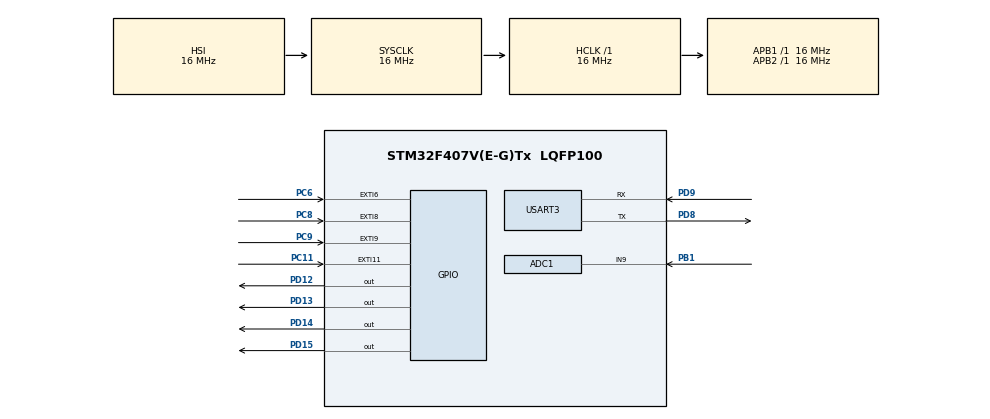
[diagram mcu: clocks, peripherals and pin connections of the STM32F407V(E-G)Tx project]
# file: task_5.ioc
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ADC1.Channel-0\#ChannelRegularConversion=ADC_CHANNEL_9
ADC1.ClockPrescaler=ADC_CLOCK_SYNC_PCLK_DIV8
ADC1.NbrOfConversionFlag=1
ADC1.Rank-0\#ChannelRegularConversion=1
ADC1.SamplingTime-0\#ChannelRegularConversion=ADC_SAMPLETIME_480CYCLES
ADC1.master=1
Mcu.Family=STM32F4
Mcu.Name=STM32F407V(E-G)Tx
Mcu.Package=LQFP100
NVIC.ADC_IRQn=true\:0\:0\:false\:false\:true\:true\:true\:true
NVIC.EXTI15_10_IRQn=true\:0\:0\:false\:false\:true\:true\:true\:true
NVIC.EXTI9_5_IRQn=true\:0\:0\:false\:false\:true\:true\:true\:true
NVIC.PriorityGroup=NVIC_PRIORITYGROUP_4
NVIC.TIM4_IRQn=true\:0\:0\:false\:false\:true\:true\:true\:true
PB1.Signal=ADCx_IN9
PC11.Signal=GPXTI11
PC6.Signal=GPXTI6
PC8.Signal=GPXTI8
PC9.Signal=GPXTI9
PD12.Signal=GPIO_Output
PD13.Signal=GPIO_Output
PD14.Signal=GPIO_Output
PD15.Signal=GPIO_Output
PD8.Mode=Asynchronous
PD8.Signal=USART3_TX
PD9.Mode=Asynchronous
PD9.Signal=USART3_RX
ProjectManager.HeapSize=0x200
ProjectManager.StackSize=0x400
ProjectManager.TargetToolchain=STM32CubeIDE
RCC.AHBFreq_Value=16000000
RCC.APB1Freq_Value=16000000
RCC.APB2Freq_Value=16000000
RCC.CortexFreq_Value=16000000
RCC.HSE_VALUE=25000000
RCC.HSI_VALUE=16000000
RCC.LSE_VALUE=32768
RCC.SYSCLKFreq_VALUE=16000000
RCC.VCOOutputFreq_Value=192000000
SH.ADCx_IN9.0=ADC1_IN9,IN9
TIM4.AutoReloadPreload=TIM_AUTORELOAD_PRELOAD_ENABLE
TIM4.Period=5000
TIM4.Prescaler=16000
USART3.VirtualMode=VM_ASYNC
VP_TIM4_VS_ClockSourceINT.Mode=Internal
board=custom

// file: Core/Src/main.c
/* USER CODE BEGIN Header */
/**
  ******************************************************************************
  * @file           : main.c
  * @brief          : Main program body
  ******************************************************************************
  * @attention
  *
  * Copyright (c) 2023 STMicroelectronics.
  * All rights reserved.
  *
  * This software is licensed under terms that can be found in the LICENSE file
  * in the root directory of this software component.
  * If no LICENSE file comes with this software, it is provided AS-IS.
  *
  ******************************************************************************
  */
/* USER CODE END Header */
#include "main.h"

/* USER CODE BEGIN Includes */
#include "UsrSrc/controls.h"

#include <stdio.h>
/* USER CODE END Includes */

ADC_HandleTypeDef hadc1;

TIM_HandleTypeDef htim4;

UART_HandleTypeDef huart3;

void SystemClock_Config(void);
static void MX_GPIO_Init(void);
static void MX_ADC1_Init(void);
static void MX_TIM4_Init(void);
static void MX_USART3_UART_Init(void);

/* USER CODE BEGIN 0 */
uint32_t adcValue = 0;
volatile HAL_StatusTypeDef adcPollResult;

void HAL_TIM_PeriodElapsedCallback(TIM_HandleTypeDef *htim) {

	if (htim->Instance == TIM4) {
		char buff[12];
		buff[0] = '[';
		buff[1] = 'O';
		buff[2] = 'U';
		buff[3] = 'T';
		buff[4] = ']';
		buff[5] = ':';
		buff[6] = ' ';
		buff[10] = '\r';
		buff[11] = '\n';

		int x = get_temp_sensor_data(adcValue);

		snprintf(buff + 7, 3, "%d", x);
		HAL_UART_Transmit(&huart3, (uint8_t*)buff, 12, 10);
	}
}

void HAL_ADC_ConvCpltCallback(ADC_HandleTypeDef* hadc) {
	if (hadc->Instance == ADC1) {
		adcValue = HAL_ADC_GetValue(&hadc1);
	}
}

void HAL_GPIO_EXTI_Callback(uint16_t GPIO_Pin) {

	switch (GPIO_Pin) {
	case SWT1:
		switch_led(&huart3, MSG_OUT, LD_LED_BLUE);
		break;
	case SWT3:
		switch_led(&huart3, MSG_OUT, LD_LED_ORANGE);
		break;

	case SWT4:
		switch_led(&huart3, MSG_OUT, LD_LED_RED);
		break;

	case SWT5:
		switch_led(&huart3, MSG_OUT, LD_LED_GREEN);
		break;

	default:
		// Unknown input
		break;
	}
}
/* USER CODE END 0 */

int main(void)
{

  /* MCU Configuration--------------------------------------------------------*/

  /* Reset of all peripherals, Initializes the Flash interface and the Systick. */
  HAL_Init();

  /* Configure the system clock */
  SystemClock_Config();

  /* Initialize all configured peripherals */
  MX_GPIO_Init();
  MX_ADC1_Init();
  MX_TIM4_Init();
  MX_USART3_UART_Init();
  /* USER CODE BEGIN 2 */
  HAL_ADC_Start_IT(&hadc1);
  HAL_TIM_Base_Start_IT(&htim4);
  /* USER CODE END 2 */

  /* Infinite loop */
  /* USER CODE BEGIN WHILE */
  while (1)
  {
	  uint8_t rcvBuf[1];
	  HAL_StatusTypeDef result;

	  result = HAL_UART_Receive(&huart3, rcvBuf, 1, 10);

	  if (result == HAL_OK) {
		  switch (rcvBuf[0]) {
			case 'l':
				switch_led(&huart3, MSG_IN, LD_LED_BLUE);
				break;
			case 'j':
				switch_led(&huart3, MSG_IN, LD_LED_ORANGE);
				break;

			case 'i':
				switch_led(&huart3, MSG_IN, LD_LED_RED);
				break;

			case 'k':
				switch_led(&huart3, MSG_IN, LD_LED_GREEN);
				break;

			default:
				// Unknown input
				break;
		  }
	  }
    /* USER CODE END WHILE */

  }
}

void SystemClock_Config(void)
{
  RCC_OscInitTypeDef RCC_OscInitStruct = {0};
  RCC_ClkInitTypeDef RCC_ClkInitStruct = {0};

  /** Configure the main internal regulator output voltage
  */
  __HAL_RCC_PWR_CLK_ENABLE();
  __HAL_PWR_VOLTAGESCALING_CONFIG(PWR_REGULATOR_VOLTAGE_SCALE1);

  /** Initializes the RCC Oscillators according to the specified parameters
  * in the RCC_OscInitTypeDef structure.
  */
  RCC_OscInitStruct.OscillatorType = RCC_OSCILLATORTYPE_HSI;
  RCC_OscInitStruct.HSIState = RCC_HSI_ON;
  RCC_OscInitStruct.HSICalibrationValue = RCC_HSICALIBRATION_DEFAULT;
  RCC_OscInitStruct.PLL.PLLState = RCC_PLL_NONE;
  if (HAL_RCC_OscConfig(&RCC_OscInitStruct) != HAL_OK)
  {
    Error_Handler();
  }

  /** Initializes the CPU, AHB and APB buses clocks
  */
  RCC_ClkInitStruct.ClockType = RCC_CLOCKTYPE_HCLK|RCC_CLOCKTYPE_SYSCLK
                              |RCC_CLOCKTYPE_PCLK1|RCC_CLOCKTYPE_PCLK2;
  RCC_ClkInitStruct.SYSCLKSource = RCC_SYSCLKSOURCE_HSI;
  RCC_ClkInitStruct.AHBCLKDivider = RCC_SYSCLK_DIV1;
  RCC_ClkInitStruct.APB1CLKDivider = RCC_HCLK_DIV1;
  RCC_ClkInitStruct.APB2CLKDivider = RCC_HCLK_DIV1;

  if (HAL_RCC_ClockConfig(&RCC_ClkInitStruct, FLASH_LATENCY_0) != HAL_OK)
  {
    Error_Handler();
  }
}

static void MX_ADC1_Init(void)
{

  ADC_ChannelConfTypeDef sConfig = {0};

  /** Configure the global features of the ADC (Clock, Resolution, Data Alignment and number of conversion)
  */
  hadc1.Instance = ADC1;
  hadc1.Init.ClockPrescaler = ADC_CLOCK_SYNC_PCLK_DIV8;
  hadc1.Init.Resolution = ADC_RESOLUTION_12B;
  hadc1.Init.ScanConvMode = DISABLE;
  hadc1.Init.ContinuousConvMode = DISABLE;
  hadc1.Init.DiscontinuousConvMode = DISABLE;
  hadc1.Init.ExternalTrigConvEdge = ADC_EXTERNALTRIGCONVEDGE_NONE;
  hadc1.Init.ExternalTrigConv = ADC_SOFTWARE_START;
  hadc1.Init.DataAlign = ADC_DATAALIGN_RIGHT;
  hadc1.Init.NbrOfConversion = 1;
  hadc1.Init.DMAContinuousRequests = DISABLE;
  hadc1.Init.EOCSelection = ADC_EOC_SINGLE_CONV;
  if (HAL_ADC_Init(&hadc1) != HAL_OK)
  {
    Error_Handler();
  }

  /** Configure for the selected ADC regular channel its corresponding rank in the sequencer and its sample time.
  */
  sConfig.Channel = ADC_CHANNEL_9;
  sConfig.Rank = 1;
  sConfig.SamplingTime = ADC_SAMPLETIME_480CYCLES;
  if (HAL_ADC_ConfigChannel(&hadc1, &sConfig) != HAL_OK)
  {
    Error_Handler();
  }

}

static void MX_TIM4_Init(void)
{

  TIM_ClockConfigTypeDef sClockSourceConfig = {0};
  TIM_MasterConfigTypeDef sMasterConfig = {0};

  htim4.Instance = TIM4;
  htim4.Init.Prescaler = 16000;
  htim4.Init.CounterMode = TIM_COUNTERMODE_UP;
  htim4.Init.Period = 5000;
  htim4.Init.ClockDivision = TIM_CLOCKDIVISION_DIV1;
  htim4.Init.AutoReloadPreload = TIM_AUTORELOAD_PRELOAD_ENABLE;
  if (HAL_TIM_Base_Init(&htim4) != HAL_OK)
  {
    Error_Handler();
  }
  sClockSourceConfig.ClockSource = TIM_CLOCKSOURCE_INTERNAL;
  if (HAL_TIM_ConfigClockSource(&htim4, &sClockSourceConfig) != HAL_OK)
  {
    Error_Handler();
  }
  sMasterConfig.MasterOutputTrigger = TIM_TRGO_RESET;
  sMasterConfig.MasterSlaveMode = TIM_MASTERSLAVEMODE_DISABLE;
  if (HAL_TIMEx_MasterConfigSynchronization(&htim4, &sMasterConfig) != HAL_OK)
  {
    Error_Handler();
  }

}

static void MX_USART3_UART_Init(void)
{

  huart3.Instance = USART3;
  huart3.Init.BaudRate = 115200;
  huart3.Init.WordLength = UART_WORDLENGTH_8B;
  huart3.Init.StopBits = UART_STOPBITS_1;
  huart3.Init.Parity = UART_PARITY_NONE;
  huart3.Init.Mode = UART_MODE_TX_RX;
  huart3.Init.HwFlowCtl = UART_HWCONTROL_NONE;
  huart3.Init.OverSampling = UART_OVERSAMPLING_16;
  if (HAL_UART_Init(&huart3) != HAL_OK)
  {
    Error_Handler();
  }

}

static void MX_GPIO_Init(void)
{
  GPIO_InitTypeDef GPIO_InitStruct = {0};

  /* GPIO Ports Clock Enable */
  __HAL_RCC_GPIOB_CLK_ENABLE();
  __HAL_RCC_GPIOD_CLK_ENABLE();
  __HAL_RCC_GPIOC_CLK_ENABLE();

  /*Configure GPIO pin Output Level */
  HAL_GPIO_WritePin(GPIOD, GPIO_PIN_12|GPIO_PIN_13|GPIO_PIN_14|GPIO_PIN_15, GPIO_PIN_RESET);

  /*Configure GPIO pins : PD12 PD13 PD14 PD15 */
  GPIO_InitStruct.Pin = GPIO_PIN_12|GPIO_PIN_13|GPIO_PIN_14|GPIO_PIN_15;
  GPIO_InitStruct.Mode = GPIO_MODE_OUTPUT_PP;
  GPIO_InitStruct.Pull = GPIO_NOPULL;
  GPIO_InitStruct.Speed = GPIO_SPEED_FREQ_LOW;
  HAL_GPIO_Init(GPIOD, &GPIO_InitStruct);

  /*Configure GPIO pins : PC6 PC8 PC9 PC11 */
  GPIO_InitStruct.Pin = GPIO_PIN_6|GPIO_PIN_8|GPIO_PIN_9|GPIO_PIN_11;
  GPIO_InitStruct.Mode = GPIO_MODE_IT_RISING;
  GPIO_InitStruct.Pull = GPIO_NOPULL;
  HAL_GPIO_Init(GPIOC, &GPIO_InitStruct);

  /* EXTI interrupt init*/
  HAL_NVIC_SetPriority(EXTI9_5_IRQn, 0, 0);
  HAL_NVIC_EnableIRQ(EXTI9_5_IRQn);

  HAL_NVIC_SetPriority(EXTI15_10_IRQn, 0, 0);
  HAL_NVIC_EnableIRQ(EXTI15_10_IRQn);

}

void Error_Handler(void)
{
  __disable_irq();
  while (1)
  {
  }
}
